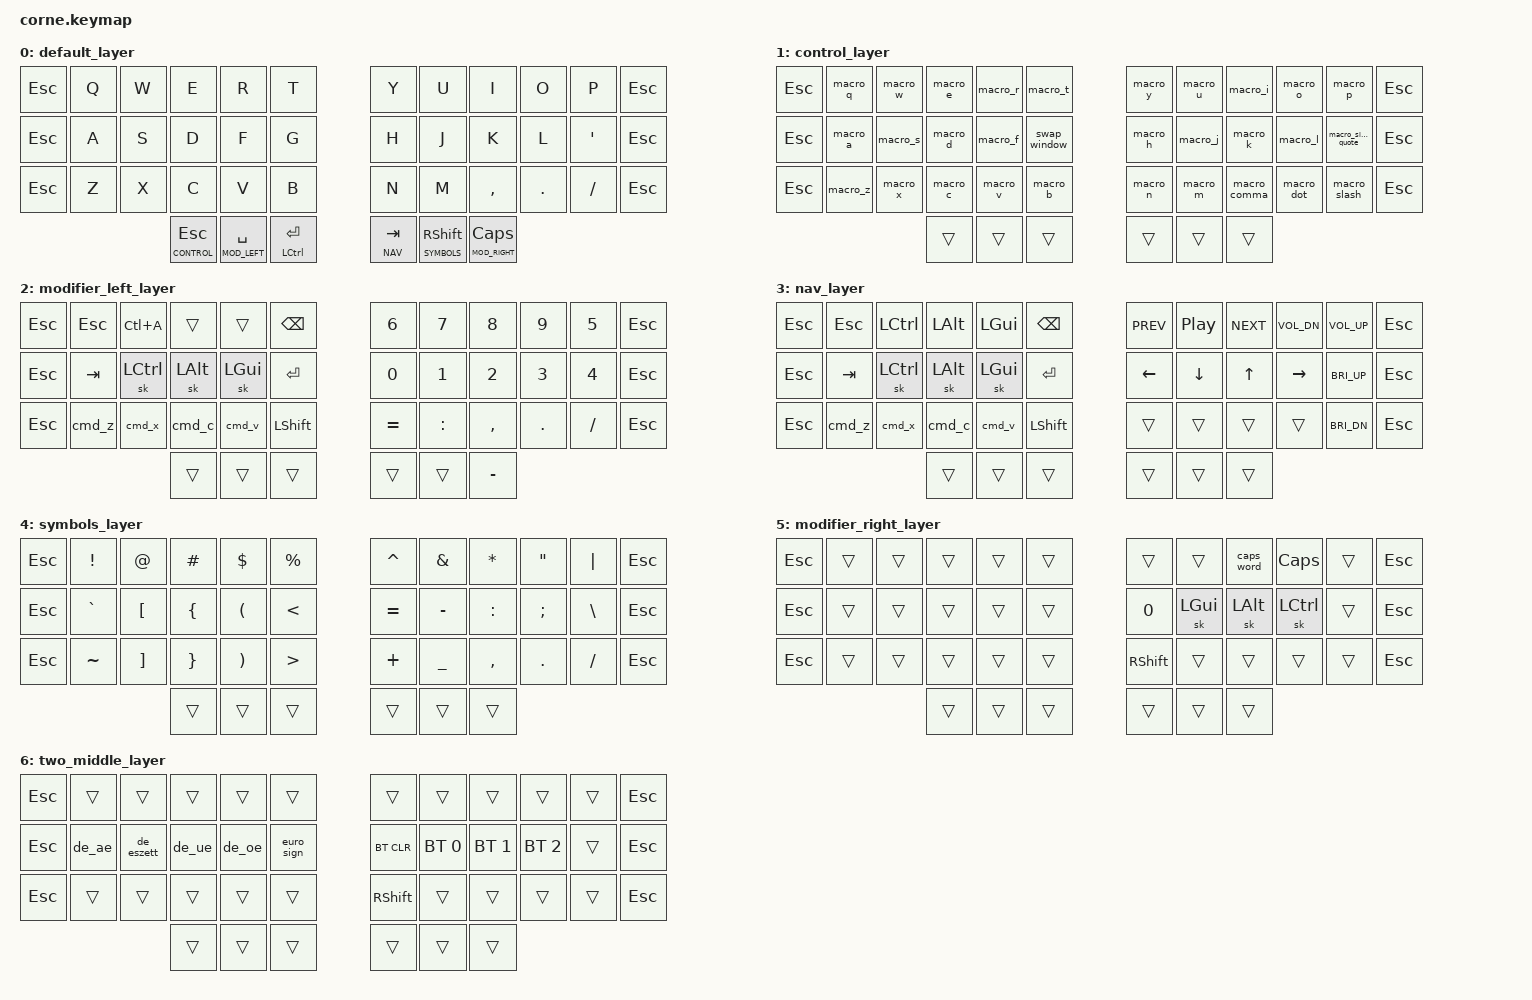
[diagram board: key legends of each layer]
/*
 * Copyright (c) 2020 The ZMK Contributors
 *
 * SPDX-License-Identifier: MIT
 */

#include <behaviors.dtsi>
#include <dt-bindings/zmk/keys.h>
#include <dt-bindings/zmk/bt.h>

#define HOST_OS 2
#include "../helper.h"

// key numbers
//    ╭────┬────┬────┬────┬────╮ ╭────┬────┬────┬────┬────╮
//  0 |  1 |  2 |  3 |  4 |  5 | |  6 |  7 |  8 |  9 | 10 | 11
//    ├────┼────┼────┼────┼────┤ ├────┼────┼────┼────┼────┤
// 12 | 13 | 14 | 15 | 16 | 17 | | 18 | 19 | 20 | 21 | 22 | 23
//    ├────┼────┼────┼────┼────┤ ├────┼────┼────┼────┼────┤
// 24 | 25 | 26 | 27 | 28 | 29 | | 30 | 31 | 32 | 33 | 34 | 35
//    ╰────┴────┼────┼────┼────┤ ├────┼────┼────┼────┴────╯
//              | 36 | 37 | 38 | | 39 | 40 | 41 |
//              ╰────┴────┴────╯ ╰────┴────┴────╯

#define DEFAULT    0
#define CONTROL    1
#define MOD_LEFT   2
#define NAV        3
#define SYMBOLS    4
#define MOD_RIGHT  5
#define TWO_MIDDLE 6

/* German umlauts */
ZMK_UNICODE_PAIR(   de_ae,      N0, N0,  E, N4,    N0, N0,  C, N4)
ZMK_UNICODE_PAIR(   de_oe,      N0, N0,  F, N6,    N0, N0,  D, N6)
ZMK_UNICODE_PAIR(   de_ue,      N0, N0,  F,  C,    N0, N0,  D,  C)
ZMK_UNICODE_SINGLE( de_eszett,  N0, N0,  D,  F)

// euro sign
ZMK_UNICODE_SINGLE(euro_sign, N2, N0, A, C)  // €

#define CTRL_ALT_CMD_MACRO(NAME, KEY) \
        macro_##NAME: macro_##NAME { \
                label = "ZM_macro_##NAME"; \
                compatible = "zmk,behavior-macro"; \
                #binding-cells = <0>; \
                bindings \
                        = <&macro_press &kp LCTRL &kp LALT &kp LGUI> \
                        , <&macro_tap &kp KEY> \
                        , <&macro_release &kp LCTRL &kp LALT &kp LGUI> \
                                ; \
        };

#define MACRO(name, key)                  \
    name: name##_macro {                   \
        label = #name;                     \
        compatible = "zmk,behavior-macro"; \
        wait-ms = <1>;                     \
        tap-ms = <1>;                      \
        #binding-cells = <0>;              \
        bindings = <&macro_press &kp LCTRL &kp LALT &kp LGUI> \
                , <&macro_tap &kp key> \
                , <&macro_release &kp LCTRL &kp LALT &kp LGUI> ; \
    };

/ {
        macros {
                cmd_z: cmd_z {
                        label = "ZM_cmd_z";
                        compatible = "zmk,behavior-macro";
                        #binding-cells = <0>;
                        bindings
                                = <&macro_press &kp LGUI>
                                , <&macro_tap &kp Z>
                                , <&macro_release &kp LGUI>
                                ;
                };
                cmd_x: cmd_x {
                        label = "ZM_cmd_x";
                        compatible = "zmk,behavior-macro";
                        #binding-cells = <0>;
                        bindings
                                = <&macro_press &kp LGUI>
                                , <&macro_tap &kp X>
                                , <&macro_release &kp LGUI>
                                ;
                };
                cmd_c: cmd_c {
                        label = "ZM_cmd_c";
                        compatible = "zmk,behavior-macro";
                        #binding-cells = <0>;
                        bindings
                                = <&macro_press &kp LGUI>
                                , <&macro_tap &kp C>
                                , <&macro_release &kp LGUI>
                                ;
                };
                cmd_v: cmd_v {
                        label = "cmd_v";
                        compatible = "zmk,behavior-macro";
                        #binding-cells = <0>;
                        bindings
                                = <&macro_press &kp LGUI>
                                , <&macro_tap &kp V>
                                , <&macro_release &kp LGUI>
                                ;
                };
                MACRO(macro_a, A)
                MACRO(macro_s, S)
                MACRO(macro_d, D)
                MACRO(macro_f, F)
                MACRO(macro_g, G)
                MACRO(macro_z, Z)
                MACRO(macro_x, X)
                MACRO(macro_c, C)
                MACRO(macro_v, V)
                MACRO(macro_b, B)
                MACRO(macro_q, Q)
                MACRO(macro_w, W)
                MACRO(macro_e, E)
                MACRO(macro_r, R)
                MACRO(macro_t, T)
                MACRO(macro_y, Y)
                MACRO(macro_u, U)
                MACRO(macro_i, I)
                MACRO(macro_o, O)
                MACRO(macro_p, P)
                MACRO(macro_h, H)
                MACRO(macro_j, J)
                MACRO(macro_k, K)
                MACRO(macro_l, L)
                MACRO(macro_single_quote, SINGLE_QUOTE)
                MACRO(macro_n, N)
                MACRO(macro_m, M)
                MACRO(macro_comma, COMMA)
                MACRO(macro_dot, DOT)
                MACRO(macro_slash, SLASH)
        };
        conditional_layers {
          compatible = "zmk,conditional-layers";
          both_layer {
            if-layers = <MOD_LEFT SYMBOLS>;
            then-layer = <TWO_MIDDLE>;
          };
        };
        combos {
                compatible = "zmk,combos";
                combo_qu {
                        timeout-ms = <50>;
                        key-positions = <1 2>;
                        bindings = <&kp Q &kp U>;
                };
                combo_esc {
                        timeout-ms = <50>;
                        key-positions = <2 3>;
                        bindings = <&kp ESC>;
                };
                combo_backspace {
                        timeout-ms = <50>;
                        key-positions = <8 9>;
                        bindings = <&kp BSPC>;
                };
                combo_delete {
                        timeout-ms = <50>;
                        key-positions = <9 10>;
                        bindings = <&kp DEL>;
                };
                combo_tab {
                        timeout-ms = <50>;
                        key-positions = <26 27>;
                        bindings = <&kp TAB>;
                };
                combo_enter {
                        timeout-ms = <50>;
                        key-positions = <32 33>;
                        bindings = <&kp RET>;
                };
//                combo_caps_word {
//                        timeout-ms = <50>;
//                        key-positions = <25 26>;
//                        bindings = <&caps_word>;
//                };
//                combo_ctrl_a {
//                        timeout-ms = <50>;
//                        key-positions = <13 14>;
//                        bindings = <&kp LC(A)>;
//                };
//                combo_semi {
//                        timeout-ms = <50>;
//                        key-positions = <21 22>;
//                        bindings = <&kp SEMI>;
//                };
//                combo_bslh {
//                        timeout-ms = <50>;
//                        key-positions = <33 34>;
//                        bindings = <&kp BSLH>;
//                };
        };
        ht_bl: hold_tap_balanced {
                compatible = "zmk,behavior-hold-tap";
                label = "HOLD_TAP_BALANCED";
                #binding-cells = <2>;
                flavor = "balanced";
                tapping-term-ms = <200>;
                quick-tap-ms = <200>;
                bindings = <&kp>, <&kp>;
        };
        behaviors {
                skq: behavior_sk_quick_release {
                        compatible = "zmk,behavior-sticky-key";
                        label = "BEHAVIOR_SKQ";
                        #binding-cells = <1>;
                        bindings = <&kp>;
                        release-after-ms = <1000>;
                        quick-release;
                        ignore-modifiers;
                };
                mo_sk: behavior_mo_sk {
                        compatible = "zmk,behavior-hold-tap";
                        label = "BEHAVIOR_MO_SK";
                        #binding-cells = <2>;
                        flavor = "balanced";
                        tapping-term-ms = <200>;
                        quick-tap-ms = <200>;
                        bindings = <&mo>, <&skq>;
                };
                swap_window: swap_window {
                        compatible = "zmk,behavior-tri-state";
                        label = "SWAPPER";
                        #binding-cells = <0>;
                        bindings = <&kt LALT>, <&kp N>, <&kt LALT>;
                };
        };
        keymap {
                compatible = "zmk,keymap";

                default_layer {
                  bindings = <
//      ╭────┬────┬────┬────┬────╮ ╭────┬────┬────┬────┬────╮
// NONE |  Q |  W |  E |  R |  T | |  Y |  U |  I |  O |  P | NONE
//      ├────┼────┼────┼────┼────┤ ├────┼────┼────┼────┼────┤
// NONE |  A |  S |  D |  F |  G | |  H |  J |  K |  L | ' "| NONE
//      ├────┼────┼────┼────┼────┤ ├────┼────┼────┼────┼────┤
// NONE |  Z |  X |  C |  V |  B | |  N |  M | , <| . >| / ?| NONE
//      ╰────┴────┼────┼────┼────┤ ├────┼────┼────┼────┴────╯
//                |    |    |    | |    |    |    |
//                ╰────┴────┴────╯ ╰────┴────┴────╯

// ------------------------------------------------------------------------------------------------------------------------------------------------
//  |     Q     |     W     |     E     |     R     |     T     |     |     Y     |     U     |     I     |     O     |     P     |
&kp ESC      &kp Q       &kp W       &kp E       &kp R       &kp T             &kp Y       &kp U       &kp I       &kp O       &kp P &kp ESC

//  |     A     |     S     |     D     |     F     |     G     |     |     H     |     J     |     K     |     L     |     '/"     |
 &kp ESC     &kp A       &kp S       &kp D       &kp F       &kp G             &kp H       &kp J       &kp K       &kp L       &kp SQT &kp ESC


//  |     Z     |     X     |     C     |     V     |     B     |     |     N     |     M     |     ,     |     .     |     /     |
 &kp ESC     &kp Z       &kp X       &kp C       &kp V       &kp B             &kp N       &kp M       &kp COMMA   &kp DOT     &kp FSLH &kp ESC


//                          |  ALT/ESC  | LEFT/BKSP | CTRL/SPC  |     | SHIFT/ENT| RIGHT/TAB |  CMD/DEL  |
                          &lt CONTROL ESC &lt MOD_LEFT SPACE &mt LCTRL RET     &lt NAV TAB  &mo_sk SYMBOLS RSHFT  &lt MOD_RIGHT CAPSLOCK
                  >;
                };

                control_layer {
                  bindings = <
// ------------------------------------------------------------------------------------------------------------------------------------------------
//  |     1     |     2     |     3     |     4     |     5     |     |     6     |     7     |     8     |     9     |     0     |
  &kp ESC     &macro_q  &macro_w  &macro_e      &macro_r      &macro_t            &macro_y      &macro_u      &macro_i      &macro_o     &macro_p &kp ESC

//  |     Ae     |     Se     |     Oe     |     Ue     |     G     |     |     LEFT   |     DOWN   |     UP   |     RIGHT   |     '/"   |
  &kp ESC     &macro_a  &macro_s  &macro_d  &macro_f  &swap_window              &macro_h   &macro_j   &macro_k    &macro_l    &macro_single_quote &kp ESC

//  |     Z     |     X     |     C     |     V     |     B     |     |     N     |     M     |     ,     |     .   |     \/"|" |
  &kp ESC     &macro_z  &macro_x  &macro_c  &macro_v  &macro_b              &macro_n        &macro_m       &macro_comma   &macro_dot   &macro_slash &kp ESC

//                          |  ALT/ESC  | LEFT/BKSP | CTRL/ENT  |     | SHIFT/SPC | RIGHT/TAB |  CMD/DEL  |
                                            &trans  &trans  &trans  &trans  &trans  &trans  
                                            >;
                };

                modifier_left_layer {
                  bindings = <
//      ╭─────────┬─────────┬─────────┬─────────┬─────────╮ ╭─────────┬─────────┬─────────┬─────────┬─────────╮
// NONE | ESC     | CTRL A  |         |         | BSPC    | | 6       | 7       | 8       | 9       | 5       | NONE
//      ├─────────┼─────────┼─────────┼─────────┼─────────┤ ├─────────┼─────────┼─────────┼─────────┼─────────┤
// NONE | TAB     | OS CTRL | OS ALT  | OS GUI  | RET     | | 0       | 1       | 2       | 3       | 4       | NONE
//      ├─────────┼─────────┼─────────┼─────────┼─────────┤ ├─────────┼─────────┼─────────┼─────────┼─────────┤
// NONE | CMD Z   | CMD X   | CMD C   | CMD V   | SHIFT   | | = +     | :       | ,       | .       | / |     | NONE
//      ╰─────────┴─────────┼─────────┼─────────┼─────────┤ ├─────────┼─────────┼─────────┼─────────┴─────────╯
//                          |         |         |         | |         |         | - _     |
//                          ╰─────────┴─────────┴─────────╯ ╰─────────┴─────────┴─────────╯

// ------------------------------------------------------------------------------------------------------------------------------------------------
//  |     1     |     2     |     3     |     4     |     5     |     |     6     |     7     |     8     |     9     |     0     |
&kp ESC      &kp ESC       &kp LC(A)       &trans       &trans       &kp BSPC             &kp N6       &kp N7       &kp N8       &kp N9       &kp N5 &kp ESC

//  |     Ae     |     Se     |     Oe     |     Ue     |     G     |     |     LEFT   |     DOWN   |     UP   |     RIGHT   |     '/"   |
  &kp ESC     &kp TAB  &sk LCTRL  &sk LALT      &sk LGUI  &kp RET              &kp N0   &kp N1   &kp N2    &kp N3    &kp N4 &kp ESC

//  |     Z     |     X     |     C     |     V     |     B     |     |     N     |     M     |     ,     |     .   |     \/"|" |
  &kp ESC     &cmd_z  &cmd_x  &cmd_c  &cmd_v  &kp LSHIFT              &kp EQUAL        &kp COLON       &kp COMMA   &kp DOT   &kp SLASH &kp ESC

//                          |  ALT/ESC  | LEFT/BKSP | CTRL/ENT  |     | SHIFT/SPC | RIGHT/TAB |  CMD/DEL  |
                                            &trans  &trans  &trans  &trans  &trans  &kp MINUS  
                                            >;
                };

                nav_layer {
                  bindings = <
// ------------------------------------------------------------------------------------------------------------------------------------------------
//  |     1     |     2     |     3     |     4     |     5     |     |     6     |     7     |     8     |     9     |     0     |
&kp ESC      &kp ESC       &kp LCTRL       &kp LALT       &kp LGUI       &kp BSPC             &kp C_PREV       &kp C_PP       &kp C_NEXT       &kp C_VOL_DN       &kp C_VOL_UP &kp ESC

//  |     Ae     |     Se     |     Oe     |     Ue     |     G     |     |     LEFT   |     DOWN   |     UP   |     RIGHT   |     '/"   |
  &kp ESC     &kp TAB  &sk LCTRL  &sk LALT      &sk LGUI  &kp RET              &kp LEFT  &kp DOWN   &kp UP    &kp RIGHT    &kp C_BRI_UP &kp ESC

//  |     Z     |     X     |     C     |     V     |     B     |     |     N     |     M     |     ,     |     .   |     \/"|" |
  &kp ESC     &cmd_z  &cmd_x  &cmd_c  &cmd_v  &kp LSHIFT              &trans        &trans       &trans   &trans   &kp C_BRI_DN &kp ESC

//                          |  ALT/ESC  | LEFT/BKSP | CTRL/ENT  |     | SHIFT/SPC | RIGHT/TAB |  CMD/DEL  |
                                            &trans  &trans  &trans  &trans  &trans  &trans  
                                            >;
                };

                symbols_layer {
                  bindings = <
// ------------------------------------------------------------------------------------------------------------------------------------------------
//  |     1     |     2     |     3     |     4     |     5     |     |     6     |     7     |     8     |     9     |     0     |
  &kp ESC     &kp EXCL  &kp AT  &kp HASH      &kp DLLR     &kp PERCENT            &kp CARET      &kp AMPS      &kp STAR      &kp DQT      &kp PIPE &kp ESC

//  |     Ae     |     Se     |     Oe     |     Ue     |     G     |     |     LEFT   |     DOWN   |     UP   |     RIGHT   |     '/"   |
 &kp ESC     &kp GRAVE  &kp LBKT  &kp LBRC      &kp LPAR  &kp LT              &kp EQUAL  &kp MINUS    &kp COLON    &kp SEMI    &kp BSLH &kp ESC

//  |     Z     |     X     |     C     |     V     |     B     |     |     N     |     M     |     ,     |     .   |     \/"|" |
  &kp ESC     &kp TILDE  &kp RBKT  &kp RBRC  &kp RPAR  &kp GT              &kp PLUS        &kp UNDER       &kp COMMA   &kp DOT   &kp FSLH &kp ESC

//                          |  ALT/ESC  | LEFT/BKSP | CTRL/ENT  |     | SHIFT/SPC | RIGHT/TAB |  CMD/DEL  |
                                            &trans  &trans  &trans  &trans  &trans  &trans  
                                            >;
                };

                modifier_right_layer {
                  bindings = <
//      ╭─────────┬─────────┬─────────┬─────────┬─────────╮ ╭─────────┬─────────┬─────────┬─────────┬─────────╮
// NONE |         |         |         |         |         | |         |         |CAPS_WORD|CAPS_LOCK|         | NONE
//      ├─────────┼─────────┼─────────┼─────────┼─────────┤ ├─────────┼─────────┼─────────┼─────────┼─────────┤
// NONE |         |         |         |         |         | |         | OS GUI  | OS ALT  | OS CTRL |         | NONE
//      ├─────────┼─────────┼─────────┼─────────┼─────────┤ ├─────────┼─────────┼─────────┼─────────┼─────────┤
// NONE |         |         |         |         |         | | SHIFT   |         |         |         |         | NONE
//      ╰─────────┴─────────┼─────────┼─────────┼─────────┤ ├─────────┼─────────┼─────────┼─────────┴─────────╯
//                          |         |         |         | |         |         |         |
//                          ╰─────────┴─────────┴─────────╯ ╰─────────┴─────────┴─────────╯


&kp ESC   &trans   &trans   &trans   &trans   &trans             &trans       &trans     &caps_word   &kp CAPSLOCK   &trans   &kp ESC
&kp ESC   &trans   &trans   &trans   &trans   &trans             &kp N0       &sk LGUI   &sk LALT     &sk LCTRL      &trans   &kp ESC
&kp ESC   &trans   &trans   &trans   &trans   &trans             &kp RSHIFT   &trans     &trans       &trans         &trans   &kp ESC
                            &trans   &trans   &trans             &trans       &trans     &trans  
                                            >;
                };

                two_middle_layer {
                  bindings = <
// ------------------------------------------------------------------------------------------------------------------------------------------------
//  |     1     |     2     |     3     |     4     |     5     |     |     6     |     7     |     8     |     9     |     0     |
   &kp ESC    &trans  &trans  &trans      &trans      &trans            &trans      &trans      &trans      &trans      &trans &kp ESC

//  |     Ae     |     Se     |     Oe     |     Ue     |     G     |     |     LEFT   |     DOWN   |     UP   |     RIGHT   |     '/"   |
  &kp ESC  &de_ae &de_eszett &de_ue &de_oe &euro_sign             &bt BT_CLR   &bt BT_SEL 0   &bt BT_SEL 1    &bt BT_SEL 2    &trans &kp ESC

//  |     Z     |     X     |     C     |     V     |     B     |     |     N     |     M     |     ,     |     `/~   |     \/"|" |
  &kp ESC     &trans  &trans  &trans  &trans  &trans              &kp RSHIFT        &trans       &trans   &trans   &trans &kp ESC

//                          |  ALT/ESC  | LEFT/BKSP | CTRL/ENT  |     | SHIFT/SPC | RIGHT/TAB |  CMD/DEL  |
                                            &trans  &trans  &trans  &trans  &trans  &trans  
                  >;
                };




        };

};
